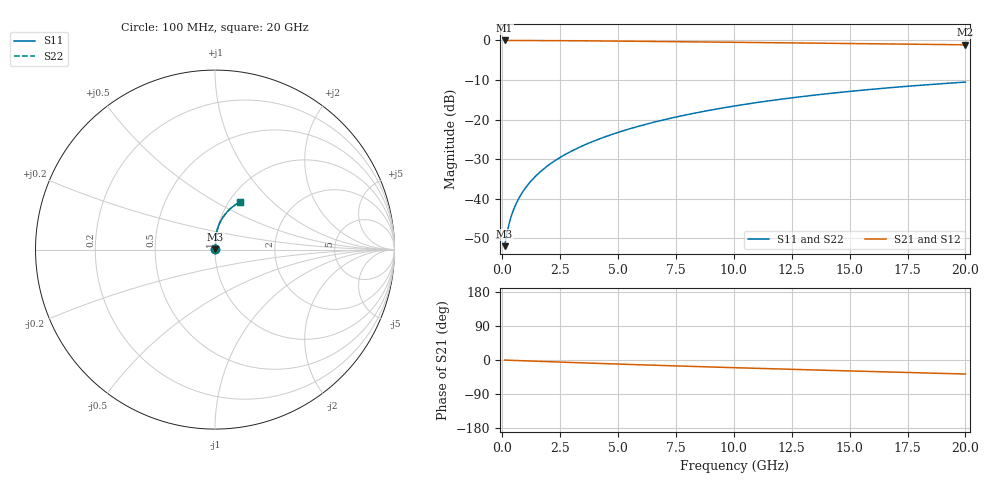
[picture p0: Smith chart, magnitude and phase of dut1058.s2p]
! Touchstone file exported from HFSS 2024.1.0
!  File:  C:/UserFiles/LocalFiles/RDL_TSV_Batchsim/temp_RDL_bottom_1058_1780052249.aedt
!  Generated:  06:59:44 PM May 29, 2026
!  Design:  RDL_bottom
!  Project:  temp_RDL_bottom_1058_1780052249
!  Setup:  Setup1
!  Solution:  Sweep
! Variables:
!  dtsv = 10.80580581um
!  hbump = 3um
!  htsv = 93.33um
!  ldown = 561.78um
!  lrdl = 100um
!  p = 40
!  p1 = 45.54um
!  rhole = 1um
!  t = 450um
!  tdown = 4.67um
!  trdl = 3.915915916um
!  wdown = 23.47um
!  wrdl = 20um
# GHz S MA R 50.000000
! Terminal data exported
! Port[1] = RDL1_T1
! Port[2] = RDL1_T2
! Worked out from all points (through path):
!   200 points, 100 MHz to 20 GHz, reference 50 ohm
!   highest |S21| = -0.02 dB at 100 MHz (marker M1); lowest = -1.1 dB at 20 GHz (marker M2)
!   group delay of S21, straight-line fit = 5.08 ps
!   lowest |S11| = -52.0 dB at 100 MHz (marker M3), VSWR 1.01, Z = 50.2 + j0.151 ohm
!   |S11| at or under -10 dB: start of sweep to end of sweep
!   |S22| runs from -52.0 to -10.5 dB; largest |S21 - S12| = 3.2e-15
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0.1  0.00251 36.9  0.998 -0.2  0.998 -0.2  0.00251 36.9
! Gamma 0 0 0 0
! Port Impedance 50 0 50 0
0.2  0.003648 54.4  0.9978 -0.5  0.9978 -0.5  0.003649 54.4
0.3  0.004914 62.5  0.9976 -0.7  0.9976 -0.7  0.004914 62.6
0.4  0.006183 67.1  0.9975 -0.9  0.9975 -0.9  0.006184 67.1
0.5  0.007438 70.2  0.9973 -1.1  0.9973 -1.1  0.00744 70.2
0.6  0.008682 72.5  0.9972 -1.4  0.9972 -1.4  0.008684 72.5
0.8  0.01117 75.8  0.9968 -1.8  0.9968 -1.8  0.01117 75.8
1.1  0.01493 79.1  0.9963 -2.5  0.9963 -2.5  0.01493 79.0
1.3  0.01747 80.5  0.9959 -2.9  0.9959 -2.9  0.01747 80.5
1.6  0.02132 82.2  0.9951 -3.6  0.9951 -3.6  0.02133 82.2
2.1  0.02788 83.9  0.9936 -4.7  0.9936 -4.7  0.02788 83.9
2.7  0.03593 85.2  0.9914 -6.0  0.9914 -6.0  0.03593 85.1
3.5  0.047 86.0  0.9877 -7.7  0.9877 -7.7  0.04698 85.9
4.2  0.05699 86.2  0.984 -9.1  0.984 -9.1  0.05697 86.1
5  0.06876 86.0  0.9793 -10.8  0.9793 -10.8  0.06873 86.0
6.8  0.09641 84.7  0.9679 -14.3  0.9679 -14.3  0.09635 84.6
8.4  0.1219 82.7  0.9572 -17.3  0.9572 -17.3  0.1218 82.6
10.1  0.1494 80.1  0.9457 -20.4  0.9457 -20.4  0.1493 80.0
11.7  0.1752 77.4  0.9349 -23.2  0.9349 -23.2  0.1751 77.3
13.4  0.2021 74.3  0.9235 -26.2  0.9235 -26.2  0.2019 74.3
16.7  0.2518 68.4  0.9015 -31.7  0.9015 -31.7  0.2516 68.3
20  0.2972 62.6  0.8798 -37.0  0.8798 -37.0  0.2969 62.5
